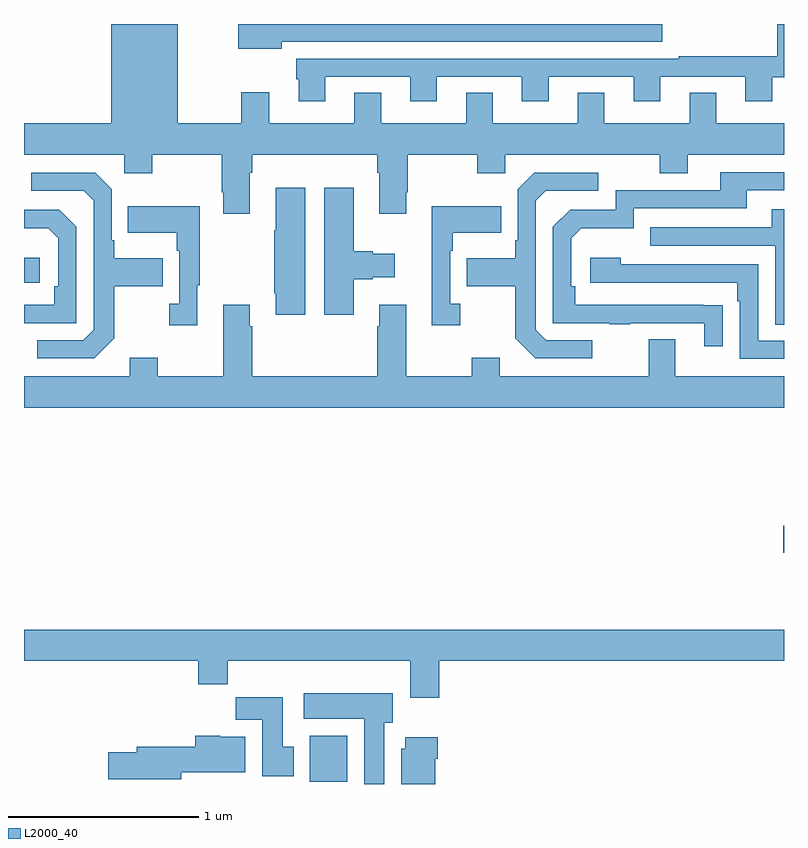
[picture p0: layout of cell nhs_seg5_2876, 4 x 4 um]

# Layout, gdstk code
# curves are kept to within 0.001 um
import gdstk
lib = gdstk.Library(unit=1e-6, precision=1e-09)
def R(c, l, rs):  # rectangles x0, y0, x1, y1
    for r in rs: c.add(gdstk.rectangle(r[:2], r[2:], *l))
def P(c, l, *ps):  # polygons
    for p in ps: c.add(gdstk.Polygon(p, *l))
L2000_40 = (2000, 40)

nhs_seg5_2876 = lib.new_cell('nhs_seg5_2876')
R(nhs_seg5_2876, L2000_40, [(280.505,834.812,280.702,835.054), (282.996,836.017,283,836.159), (279,837.438,279.082,837.568)])
P(nhs_seg5_2876, L2000_40, [(280.357,838.706),(282.358,838.706),(282.358,838.799),(280.128,838.799),(280.128,838.67),(280.357,838.67)],
  [(280.585,838.521),(281.033,838.521),(281.033,838.392),(281.173,838.392),(281.173,838.521),(281.621,838.521),(281.621,838.392),(281.761,838.392),(281.761,838.521),(282.209,838.521),(282.209,838.392),(282.349,838.392),(282.349,838.521),(282.797,838.521),(282.797,838.392),(282.937,838.392),(282.937,838.52),(283,838.52),(283,838.799),(282.965,838.799),(282.965,838.63),(282.445,838.63),(282.445,838.617),(280.433,838.617),(280.433,838.509),(280.445,838.509),(280.445,838.392),(280.585,838.392)],
  [(279.808,838.799),(279.458,838.799),(279.458,838.276),(279,838.276),(279,838.112),(279.528,838.112),(279.528,838.013),(279.675,838.013),(279.675,838.112),(280.042,838.112),(280.042,837.913),(280.049,837.913),(280.049,837.801),(280.189,837.801),(280.189,838.016),(280.202,838.016),(280.202,838.112),(280.859,838.112),(280.859,838.016),(280.871,838.016),(280.871,837.801),(281.011,837.801),(281.011,837.913),(281.019,837.913),(281.019,838.112),(281.386,838.112),(281.386,838.013),(281.532,838.013),(281.532,838.112),(282.346,838.112),(282.346,838.013),(282.493,838.013),(282.493,838.112),(283,838.112),(283,838.276),(282.643,838.276),(282.643,838.436),(282.503,838.436),(282.503,838.276),(282.055,838.276),(282.055,838.436),(281.915,838.436),(281.915,838.276),(281.467,838.276),(281.467,838.436),(281.327,838.436),(281.327,838.276),(280.879,838.276),(280.879,838.436),(280.739,838.436),(280.739,838.276),(280.291,838.276),(280.291,838.441),(280.144,838.441),(280.144,838.276),(279.808,838.276)],
  [(282.677,837.32),(281.9,837.321),(281.9,837.418),(281.88,837.418),(281.88,837.672),(281.933,837.725),(282.21,837.725),(282.21,837.828),(282.805,837.828),(282.805,837.924),(283,837.924),(283,838.02),(282.665,838.02),(282.665,837.924),(282.114,837.924),(282.114,837.822),(281.874,837.822),(281.784,837.732),(281.784,837.225),(282.079,837.225),(282.079,837.22),(282.191,837.22),(282.191,837.225),(282.581,837.225),(282.581,837.102),(282.677,837.102)],
  [(281.992,837.135),(281.748,837.135),(281.694,837.189),(281.694,837.87),(281.745,837.921),(282.022,837.921),(282.022,838.017),(281.685,838.017),(281.598,837.93),(281.598,837.661),(281.586,837.661),(281.586,837.565),(281.329,837.565),(281.329,837.418),(281.586,837.418),(281.586,837.145),(281.691,837.039),(281.992,837.039)],
  [(279.475,837.145),(279.475,837.418),(279.731,837.418),(279.731,837.565),(279.475,837.565),(279.475,837.661),(279.462,837.661),(279.462,837.93),(279.375,838.017),(279.039,838.017),(279.039,837.921),(279.315,837.921),(279.366,837.87),(279.366,837.189),(279.312,837.135),(279.069,837.135),(279.069,837.039),(279.369,837.039)],
  [(280.735,837.455),(280.835,837.455),(280.835,837.467),(280.951,837.467),(280.951,837.589),(280.835,837.589),(280.835,837.602),(280.735,837.602),(280.735,837.937),(280.58,837.937),(280.58,837.27),(280.735,837.27)],
  [(280.48,837.937),(280.325,837.937),(280.325,837.713),(280.318,837.713),(280.318,837.382),(280.325,837.382),(280.325,837.27),(280.48,837.27)],
  [(281.296,837.326),(281.244,837.326),(281.244,837.605),(281.257,837.605),(281.257,837.701),(281.513,837.701),(281.513,837.841),(281.147,837.841),(281.147,837.213),(281.296,837.213)],
  [(279.913,837.425),(279.925,837.425),(279.925,837.841),(279.547,837.841),(279.547,837.701),(279.804,837.701),(279.804,837.605),(279.816,837.605),(279.816,837.326),(279.765,837.326),(279.765,837.213),(279.913,837.213)],
  [(283,837.823),(282.935,837.823),(282.935,837.729),(282.295,837.729),(282.295,837.633),(282.954,837.633),(282.954,837.217),(283,837.217)],
  [(279.276,837.732),(279.186,837.822),(279,837.822),(279,837.725),(279.127,837.725),(279.18,837.672),(279.18,837.418),(279.16,837.418),(279.16,837.321),(279,837.321),(279,837.225),(279.276,837.225)],
  [(283,837.132),(282.864,837.132),(282.864,837.534),(282.14,837.534),(282.14,837.568),(281.979,837.568),(281.979,837.438),(282.755,837.438),(282.755,837.341),(282.768,837.341),(282.768,837.036),(283,837.036)],
  [(283,836.944),(282.427,836.944),(282.427,837.139),(282.287,837.139),(282.287,836.944),(281.503,836.944),(281.503,837.043),(281.356,837.043),(281.356,836.944),(281.011,836.944),(281.011,837.322),(280.871,837.322),(280.871,837.209),(280.859,837.209),(280.859,836.944),(280.202,836.944),(280.202,837.209),(280.189,837.209),(280.189,837.322),(280.049,837.322),(280.049,836.944),(279.705,836.944),(279.705,837.043),(279.557,837.043),(279.557,836.944),(279,836.944),(279,836.78),(283,836.78)],
  [(281.186,835.448),(283,835.448),(283,835.612),(279,835.612),(279,835.448),(279.917,835.448),(279.917,835.324),(280.073,835.324),(280.073,835.448),(281.033,835.448),(281.033,835.254),(281.186,835.254)],
  [(280.897,835.122),(280.942,835.122),(280.942,835.276),(280.473,835.276),(280.473,835.142),(280.79,835.142),(280.79,834.799),(280.897,834.799)],
  [(280.42,834.996),(280.363,834.996),(280.363,835.255),(280.114,835.255),(280.114,835.136),(280.253,835.136),(280.253,834.84),(280.42,834.84)],
  [(279.828,834.86),(280.165,834.86),(280.165,835.048),(280.032,835.048),(280.032,835.054),(279.902,835.054),(279.902,834.996),(279.593,834.996),(279.593,834.966),(279.444,834.966),(279.444,834.824),(279.828,834.824)],
  [(281.164,834.932),(281.177,834.932),(281.177,835.045),(281.006,835.045),(281.006,834.984),(280.985,834.984),(280.985,834.799),(281.164,834.799)])

lib.write_gds('nhs_seg5_2876.gds')
